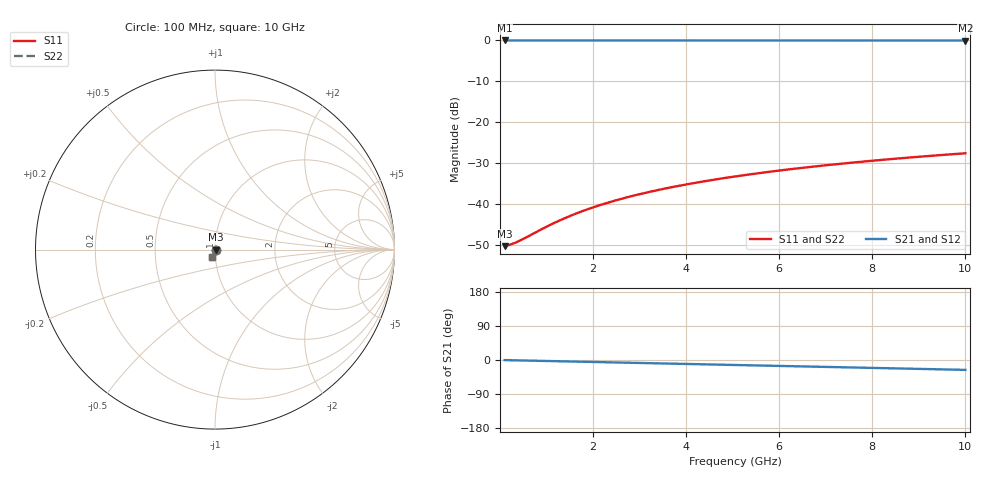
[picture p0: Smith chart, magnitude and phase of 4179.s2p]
# Hz S RI R 50.00
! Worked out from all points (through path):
!   100 points, 100 MHz to 10 GHz, reference 50 ohm
!   highest |S21| = -0.03 dB at 100 MHz (marker M1); lowest = 0.0 dB at 10 GHz (marker M2)
!   group delay of S21, straight-line fit = 7.24 ps
!   lowest |S11| = -50.2 dB at 100 MHz (marker M3), VSWR 1.01, Z = 50.3 - j0.0449 ohm
!   |S11| at or under -10 dB: start of sweep to end of sweep
!   |S22| runs from -50.2 to -27.5 dB; largest |S21 - S12| = 0
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1e8  0.00307 -0.000446  0.9969 -0.00453  0.9969 -0.00453  0.00307 -0.000446
2e8  0.00308 -0.000893  0.9969 -0.00906  0.9969 -0.00906  0.00308 -0.000893
3e8  0.00308 -0.00134  0.9968 -0.0136  0.9968 -0.0136  0.00308 -0.00134
4e8  0.00308 -0.00179  0.9967 -0.0181  0.9967 -0.0181  0.00308 -0.00179
1e9  0.00295 -0.00446  0.9958 -0.0453  0.9958 -0.0453  0.00295 -0.00446
1.2e9  0.00287 -0.00535  0.9953 -0.0543  0.9953 -0.0543  0.00287 -0.00535
1.5e9  0.00271 -0.00668  0.9944 -0.0679  0.9944 -0.0679  0.00271 -0.00668
1.8e9  0.00253 -0.00801  0.9934 -0.0815  0.9934 -0.0815  0.00253 -0.00801
2.1e9  0.0023 -0.00933  0.9921 -0.095  0.9921 -0.095  0.0023 -0.00933
2.5e9  0.00194 -0.0111  0.9902 -0.113  0.9902 -0.113  0.00194 -0.0111
2.9e9  0.00152 -0.0128  0.9879 -0.131  0.9879 -0.131  0.00152 -0.0128
3.4e9  0.000903 -0.015  0.9846 -0.1534  0.9846 -0.1534  0.000903 -0.015
3.8e9  0.00034 -0.0167  0.9816 -0.1713  0.9816 -0.1713  0.00034 -0.0167
4.2e9  -0.000284 -0.0183  0.9783 -0.1891  0.9783 -0.1891  -0.000284 -0.0183
4.6e9  -0.000968 -0.02  0.9746 -0.2069  0.9746 -0.2069  -0.000968 -0.02
5.1e9  -0.00191 -0.022  0.9696 -0.229  0.9696 -0.229  -0.00191 -0.022
5.9e9  -0.0036 -0.0252  0.9605 -0.2641  0.9605 -0.2641  -0.0036 -0.0252
6.7e9  -0.00551 -0.0282  0.9501 -0.2988  0.9501 -0.2988  -0.00551 -0.0282
7.5e9  -0.00764 -0.0311  0.9385 -0.3332  0.9385 -0.3332  -0.00764 -0.0311
8.4e9  -0.0103 -0.0342  0.9239 -0.3713  0.9239 -0.3713  -0.0103 -0.0342
9.2e9  -0.0128 -0.0367  0.9096 -0.4046  0.9096 -0.4046  -0.0128 -0.0367
1e10  -0.0155 -0.0391  0.8941 -0.4374  0.8941 -0.4374  -0.0155 -0.0391
